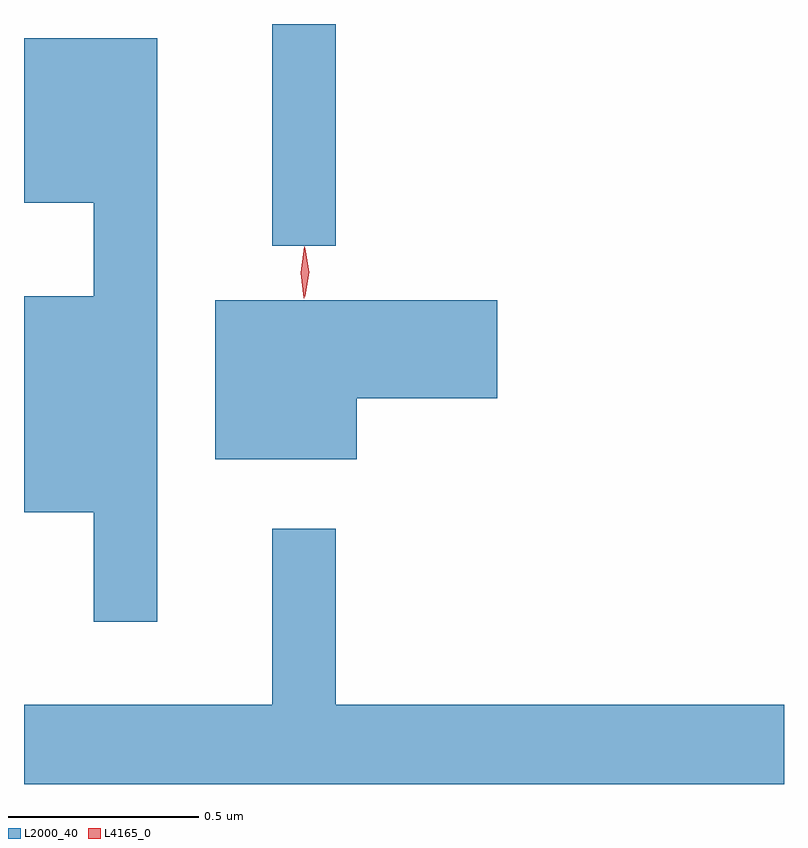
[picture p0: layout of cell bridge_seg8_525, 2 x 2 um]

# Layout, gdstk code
import gdstk
lib = gdstk.Library(unit=1e-6, precision=1e-09)
def R(c, l, rs):  # rectangles x0, y0, x1, y1
    for r in rs: c.add(gdstk.rectangle(r[:2], r[2:], *l))
def P(c, l, *ps):  # polygons
    for p in ps: c.add(gdstk.Polygon(p, *l))
L2000_40 = (2000, 40)
L4165_0 = (4165, 0)

bridge_seg8_525 = lib.new_cell('bridge_seg8_525')
R(bridge_seg8_525, L2000_40, [(258.191,1846.773,258.359,1847.356)])
P(bridge_seg8_525, L2000_40, [(257.889,1847.319),(257.538,1847.319),(257.538,1846.886),(257.721,1846.886),(257.721,1846.639),(257.538,1846.639),(257.538,1846.071),(257.721,1846.071),(257.721,1845.783),(257.889,1845.783)],
  [(258.414,1846.371),(258.784,1846.371),(258.784,1846.629),(258.041,1846.629),(258.041,1846.211),(258.414,1846.211)],
  [(259.538,1845.564),(258.359,1845.564),(258.359,1846.028),(258.191,1846.028),(258.191,1845.564),(257.538,1845.564),(257.538,1845.356),(259.538,1845.356)])
P(bridge_seg8_525, L4165_0, [(258.274,1846.634),(258.266,1846.702),(258.276,1846.77),(258.277,1846.77),(258.277,1846.77),(258.286,1846.702),(258.276,1846.634),(258.275,1846.634)],
  [(258.278,1846.64),(258.278,1846.64),(258.268,1846.703),(258.277,1846.766),(258.277,1846.767),(258.278,1846.766),(258.288,1846.703),(258.278,1846.64)])

lib.write_gds('bridge_seg8_525.gds')
